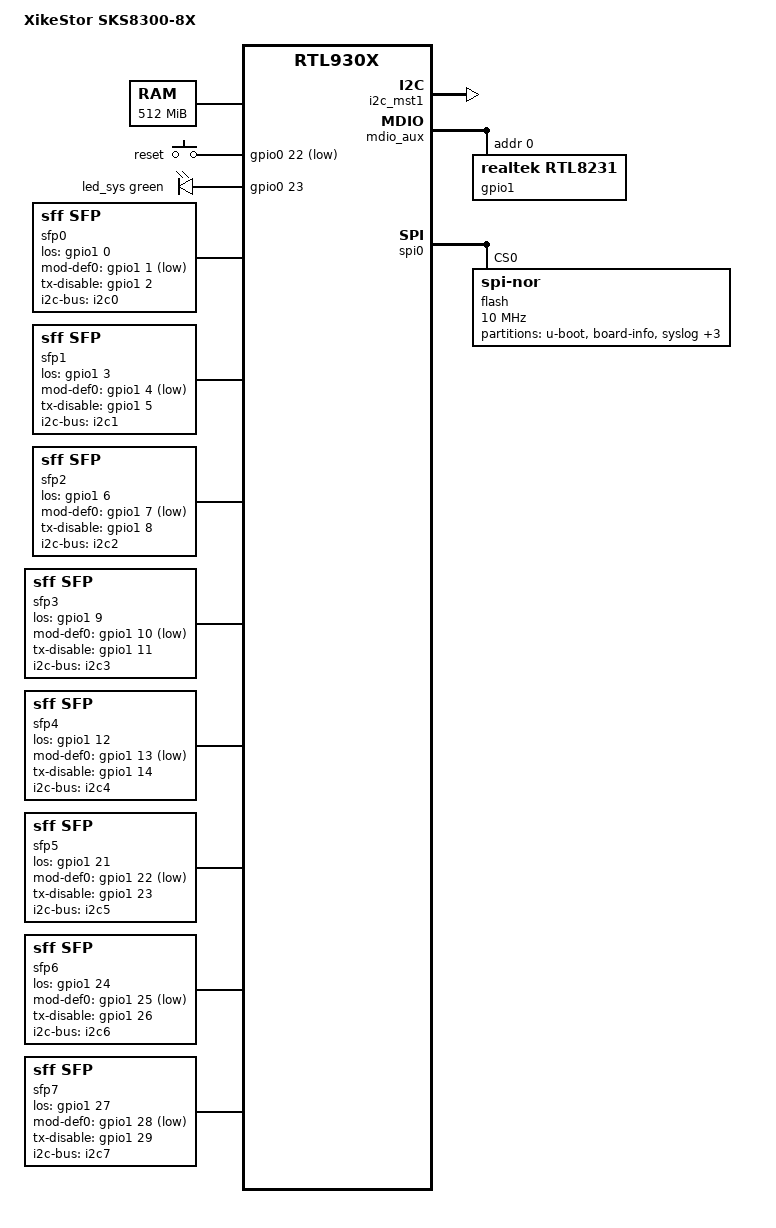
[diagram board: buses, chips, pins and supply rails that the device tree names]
// SPDX-License-Identifier: GPL-2.0-or-later

#include "rtl930x.dtsi"

#include <dt-bindings/input/input.h>
#include <dt-bindings/gpio/gpio.h>
#include <dt-bindings/leds/common.h>

/ {
	compatible = "xikestor,sks8300-8x", "realtek,rtl930x-soc";
	model = "XikeStor SKS8300-8X";

	memory@0 {
		device_type = "memory";
		reg = <0x00000000 0x10000000>, /* first 256 MiB */
		      <0x20000000 0x10000000>; /* remaining 256 MiB */
	};

	aliases {
		led-boot = &led_sys;
		led-failsafe = &led_sys;
		led-running = &led_sys;
		led-upgrade = &led_sys;
	};

	chosen {
		stdout-path = "serial0:9600n8";
	};

	keys {
		compatible = "gpio-keys";

		button-reset {
			label = "reset";
			gpios = <&gpio0 22 GPIO_ACTIVE_LOW>;
			linux,code = <KEY_RESTART>;
		};
	};

	leds {
		compatible = "gpio-leds";

		led_sys: led-0 {
			gpios = <&gpio0 23 GPIO_ACTIVE_HIGH>;
			color = <LED_COLOR_ID_GREEN>;
			function = LED_FUNCTION_STATUS;
		};
	};

	led_set {
		compatible = "realtek,rtl9300-leds";
		active-low;

		/*
		 * LED set 0
		 *
		 * - LED[0](Green): 10G/LINK/ACT
		 * - LED[1](Amber): 10M/100M/1G/2.5G/5G/LINK/ACT
		 */
		led_set0 = <(RTL93XX_LED_SET_5G | RTL93XX_LED_SET_2P5G | RTL93XX_LED_SET_1G |
			     RTL93XX_LED_SET_100M | RTL93XX_LED_SET_10M | RTL93XX_LED_SET_LINK |
			     RTL93XX_LED_SET_ACT)
			    (RTL93XX_LED_SET_10G | RTL93XX_LED_SET_LINK | RTL93XX_LED_SET_ACT)>;
	};

	sfp0: sfp-p1 {
		compatible = "sff,sfp";
		i2c-bus = <&i2c0>;
		los-gpio = <&gpio1 0 GPIO_ACTIVE_HIGH>;
		mod-def0-gpio = <&gpio1 1 GPIO_ACTIVE_LOW>;
		tx-disable-gpio = <&gpio1 2 GPIO_ACTIVE_HIGH>;
		maximum-power-milliwatt = <2900>;
		#thermal-sensor-cells = <0>;
	};

	sfp1: sfp-p2 {
		compatible = "sff,sfp";
		i2c-bus = <&i2c1>;
		los-gpio = <&gpio1 3 GPIO_ACTIVE_HIGH>;
		mod-def0-gpio = <&gpio1 4 GPIO_ACTIVE_LOW>;
		tx-disable-gpio = <&gpio1 5 GPIO_ACTIVE_HIGH>;
		maximum-power-milliwatt = <1500>;
		#thermal-sensor-cells = <0>;
	};

	sfp2: sfp-p3 {
		compatible = "sff,sfp";
		i2c-bus = <&i2c2>;
		los-gpio = <&gpio1 6 GPIO_ACTIVE_HIGH>;
		mod-def0-gpio = <&gpio1 7 GPIO_ACTIVE_LOW>;
		tx-disable-gpio = <&gpio1 8 GPIO_ACTIVE_HIGH>;
		maximum-power-milliwatt = <1500>;
		#thermal-sensor-cells = <0>;
	};

	sfp3: sfp-p4 {
		compatible = "sff,sfp";
		i2c-bus = <&i2c3>;
		los-gpio = <&gpio1 9 GPIO_ACTIVE_HIGH>;
		mod-def0-gpio = <&gpio1 10 GPIO_ACTIVE_LOW>;
		tx-disable-gpio = <&gpio1 11 GPIO_ACTIVE_HIGH>;
		maximum-power-milliwatt = <2000>;
		#thermal-sensor-cells = <0>;
	};

	sfp4: sfp-p5 {
		compatible = "sff,sfp";
		i2c-bus = <&i2c4>;
		los-gpio = <&gpio1 12 GPIO_ACTIVE_HIGH>;
		mod-def0-gpio = <&gpio1 13 GPIO_ACTIVE_LOW>;
		tx-disable-gpio = <&gpio1 14 GPIO_ACTIVE_HIGH>;
		maximum-power-milliwatt = <2000>;
		#thermal-sensor-cells = <0>;
	};

	sfp5: sfp-p6 {
		compatible = "sff,sfp";
		i2c-bus = <&i2c5>;
		los-gpio = <&gpio1 21 GPIO_ACTIVE_HIGH>;
		mod-def0-gpio = <&gpio1 22 GPIO_ACTIVE_LOW>;
		tx-disable-gpio = <&gpio1 23 GPIO_ACTIVE_HIGH>;
		maximum-power-milliwatt = <1500>;
		#thermal-sensor-cells = <0>;
	};

	sfp6: sfp-p7 {
		compatible = "sff,sfp";
		i2c-bus = <&i2c6>;
		los-gpio = <&gpio1 24 GPIO_ACTIVE_HIGH>;
		mod-def0-gpio = <&gpio1 25 GPIO_ACTIVE_LOW>;
		tx-disable-gpio = <&gpio1 26 GPIO_ACTIVE_HIGH>;
		maximum-power-milliwatt = <1500>;
		#thermal-sensor-cells = <0>;
	};

	sfp7: sfp-p8 {
		compatible = "sff,sfp";
		i2c-bus = <&i2c7>;
		los-gpio = <&gpio1 27 GPIO_ACTIVE_HIGH>;
		mod-def0-gpio = <&gpio1 28 GPIO_ACTIVE_LOW>;
		tx-disable-gpio = <&gpio1 29 GPIO_ACTIVE_HIGH>;
		maximum-power-milliwatt = <2900>;
		#thermal-sensor-cells = <0>;
	};
};

&i2c_mst1 {
	status = "okay";

	/* SDA0-7 correspond to GPIO9-16 */
	i2c0: i2c@0 {
		reg = <0>;
		clock-frequency = <50000>;
	};
	i2c1: i2c@1 {
		reg = <1>;
		clock-frequency = <50000>;
	};
	i2c2: i2c@2 {
		reg = <2>;
		clock-frequency = <50000>;
	};
	i2c3: i2c@3 {
		reg = <3>;
		clock-frequency = <50000>;
	};
	i2c4: i2c@4 {
		reg = <4>;
		clock-frequency = <50000>;
	};
	i2c5: i2c@5 {
		reg = <5>;
		clock-frequency = <50000>;
	};
	i2c6: i2c@6 {
		reg = <6>;
		clock-frequency = <50000>;
	};
	i2c7: i2c@7 {
		reg = <7>;
		clock-frequency = <50000>;
	};
};

&mdio_aux {
	status = "okay";

	gpio1: gpio@0 {
		compatible = "realtek,rtl8231";
		reg = <0>;

		gpio-controller;
		#gpio-cells = <2>;
		gpio-ranges = <&gpio1 0 0 37>;

		led-controller {
			compatible = "realtek,rtl8231-leds";
			status = "disabled";
		};
	};
};

&spi0 {
	status = "okay";

	flash@0 {
		compatible = "jedec,spi-nor";
		reg = <0>;
		spi-max-frequency = <10000000>;

		partitions {
			compatible = "fixed-partitions";
			#address-cells = <1>;
			#size-cells = <1>;

			partition@0 {
				label = "u-boot";
				reg = <0x0 0x100000>;
				read-only;
			};

			/* "flash_raw" on stock */
			partition@100000 {
				label = "board-info";
				reg = <0x100000 0x30000>;
				read-only;
			};

			partition@130000 {
				label = "syslog";
				reg = <0x130000 0xd0000>;
				read-only;
			};

			/* "flash_user" on stock */
			partition@200000 {
				compatible = "fixed-partitions";
				label = "firmware";
				reg = <0x200000 0x1e00000>;
				#address-cells = <1>;
				#size-cells = <1>;

				partition@0 {
					label = "kernel";
					reg = <0x0 0x800000>;
				};

				partition@800000 {
					label = "rootfs";
					reg = <0x800000 0x1600000>;
					linux,rootfs;
				};
			};
		};
	};
};

&switch0 {
	ethernet-ports {
		#address-cells = <1>;
		#size-cells = <0>;

		SWITCH_PORT_SFP(0, 1, 2, 0, 0)
		SWITCH_PORT_SFP(8, 2, 3, 0, 1)
		SWITCH_PORT_SFP(16, 3, 4, 0, 2)
		SWITCH_PORT_SFP(20, 4, 5, 0, 3)
		SWITCH_PORT_SFP(24, 5, 6, 0, 4)
		SWITCH_PORT_SFP(25, 6, 7, 0, 5)
		SWITCH_PORT_SFP(26, 7, 8, 0, 6)
		SWITCH_PORT_SFP(27, 8, 9, 0, 7)

		port@1c {
			ethernet = <&ethernet0>;
			reg = <28>;
			phy-mode = "internal";

			fixed-link {
				speed = <1000>;
				full-duplex;
			};
		};
	};
};

&thermal_zones {
	sfp-thermal {
		polling-delay-passive = <10000>;
		polling-delay = <10000>;
		thermal-sensors = <&sfp0>, <&sfp1>, <&sfp2>, <&sfp3>, <&sfp4>, <&sfp5>, <&sfp6>, <&sfp7>;
		trips {
			sfp-crit {
				temperature = <110000>;
				hysteresis = <1000>;
				type = "critical";
			};
		};
	};
};
